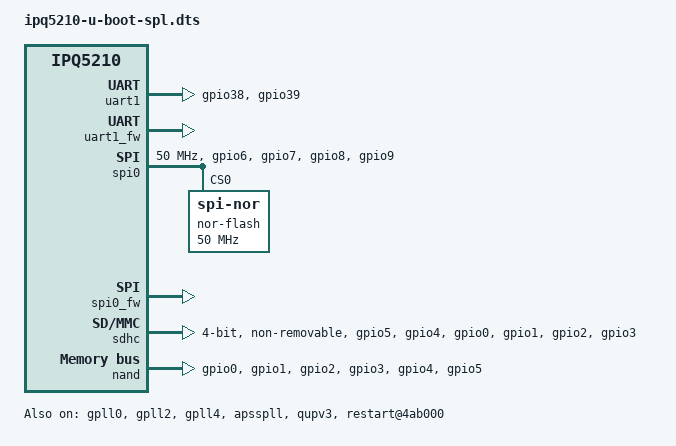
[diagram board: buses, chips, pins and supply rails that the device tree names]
// SPDX-License-Identifier: GPL-2.0-only
/*
 * Copyright (c) Qualcomm Technologies, Inc. and/or its subsidiaries.
 */

/dts-v1/;

#include <dt-bindings/interrupt-controller/arm-gic.h>
#include <asm/arch/dt-bindings/clock/qcom,ipq5210-gcc.h>
#include <asm/arch/dt-bindings/reset/qcom,ipq5210-gcc.h>
#include <dt-bindings/gpio/gpio.h>

/ {
	bootph-all;
	compatible = "qcom,ipq5210";

	#address-cells = <2>;
	#size-cells = <2>;
	interrupt-parent = <&intc>;

	aliases {
		serial0 = &uart1;
	};

	chosen {
		stdout-path = "serial0:115200n8";
	};

	reserved-memory {
		#address-cells = <2>;
		#size-cells = <2>;
		ranges;

		smem_mem: smem_region@87C00000 {
			bootph-all;
			reg = <0x0 0x87C00000 0x0 0x40000>;
			no-map;
		};
	};

	smem {
		bootph-all;
		compatible = "qcom,smem";
		memory-region = <&smem_mem>;
	};

	soc@0 {
		compatible = "simple-bus";
		#address-cells = <2>;
		#size-cells = <2>;
		ranges = <0 0 0 0 0x10 0>;

		tlmm: pinctrl@1000000 {
			bootph-all;
			compatible = "qcom,ipq5210-tlmm";
			reg = <0 0x01000000 0 0x300000>;
			gpio-controller;
			#gpio-cells = <2>;
			gpio-ranges = <&tlmm 0 0 53>;
			interrupt-controller;
			#interrupt-cells = <2>;

			uart1_pins: uart1-state {
				bootph-all;
				rx-pins {
					pins = "gpio38";
					function = "qup_se1_l3";
					drive-strength = <6>;
					bias-pull-down;
					bootph-all;
				};

				tx-pins {
					pins = "gpio39";
					function = "qup_se1_l2";
					drive-strength = <6>;
					bias-pull-down;
					bootph-all;
				};
			};

			sdc_default_state: sdc-default-state {
				bootph-all;
				clk-pins {
					bootph-all;
					pins = "gpio5";
					function = "sdc_clk";
					drive-strength = <8>;
					bias-disable;
				};

				cmd-pins {
					bootph-all;
					pins = "gpio4";
					function = "sdc_cmd";
					drive-strength = <8>;
					bias-pull-up;
				};

				data-pins {
					bootph-all;
					pins = "gpio0", "gpio1", "gpio2", "gpio3";
					function = "sdc_data";
					drive-strength = <8>;
					bias-pull-up;
				};
			};

			spi0_pinmux: spi0 {
				bootph-all;
				spi0_sclk {
					bootph-all;
					pins = "gpio6";
					function = "qup_se0_l2";
					drive-strength = <8>;
					bias-pull-down;
				};

				spi0_cs0 {
					bootph-all;
					pins = "gpio7";
					function = "qup_se0_l3";
					drive-strength = <8>;
					bias-pull-up;
				};

				spi0_miso {
					bootph-all;
					pins = "gpio8";
					function = "qup_se0_l0";
					drive-strength = <8>;
					bias-pull-down;
				};

				spi0_mosi {
					bootph-all;
					pins = "gpio9";
					function = "qup_se0_l1";
					drive-strength = <8>;
					bias-pull-down;
				};
			};

			qspi_pinmux: nand {
				bootph-all;
				qspi_data {
					bootph-all;
					pins = "gpio0", "gpio1", "gpio2","gpio3";
					function = "qspi_data";
					drive-strength = <8>;
					bias-pull-up;
				};

				qspi_cs_n {
					bootph-all;
					pins = "gpio4";
					function = "qspi_cs";
					drive-strength = <8>;
					bias-pull-up;
				};

				qspi_clk {
					bootph-all;
					pins = "gpio5";
					function = "qspi_clk";
					drive-strength = <8>;
					bias-disable;
				};
			};
		};

		intc: interrupt-controller@b000000 {
			bootph-all;
			compatible = "qcom,msm-qgic2";
			interrupt-controller;
			#interrupt-cells = <3>;
			reg = <0 0xb000000 0 0x1000>,  /*GICD*/
				<0 0xb002000 0 0x1000>,  /*GICC*/
				<0 0xb001000 0 0x1000>,  /*GICH*/
				<0 0xb004000 0 0x1000>;  /*GICV*/
			interrupts = <GIC_PPI 9 IRQ_TYPE_LEVEL_HIGH>;
		};

		tmel_qmp: tmel-qmp@32090000 {
			bootph-all;
			compatible = "qcom,tmel-qmp-mbox-secure";
			reg = <0x0 0x32090000 0x0 0x20>,
				<0x0 0x32091000 0x0 0x20>;
			reg-names = "mcore", "ucore";

			interrupts = <GIC_SPI 68 IRQ_TYPE_EDGE_RISING>;
			max_pkt_size = <0x18>;

			#mbox-cells = <0>;
			status = "okay";
		};

		tmelcom: qcom,tmelcom {
			bootph-all;
			compatible = "qcom,tmelcom";
			mboxes = <&tmel_qmp>;
			mbox-names = "tmel-qmp-mbox";
			#clock-cells = <1>;
			#power-domain-cells = <1>;
			#reset-cells = <1>;
			status = "okay";
		};

		gcc: clock-controller@1800000 {
			bootph-all;
			compatible = "qcom,ipq5210-gcc";
			reg = <0 0x01800000 0 0x40000>;
			#clock-cells = <1>;
			#reset-cells = <1>;
			#power-domain-cells = <1>;
		};

		gpll0: pll@1820000 {
			bootph-all;
			compatible = "qcom,ipq5210-clk-pll",
					"qcom,ipq-clk-pll";
			reg = <0 0x01820000 0 0x1000>;
			#clock-cells = <0>;
			clock-output-names = "gpll0";
			fsm-vote-addr = <0x0180B000>;
			fsm-vote-mask = <0x1>;
			status = "okay";
		};

		gpll2: pll@1821000 {
			bootph-all;
			compatible = "qcom,ipq5210-clk-pll",
					"qcom,ipq-clk-pll";
			reg = <0 0x01821000 0 0x1000>;
			#clock-cells = <0>;
			clock-output-names = "gpll2";
			fsm-vote-addr = <0x0180B000>;
			fsm-vote-mask = <0x2>;
			status = "okay";
		};

		gpll4: pll@1822000 {
			bootph-all;
			compatible = "qcom,ipq5210-clk-pll",
					"qcom,ipq-clk-pll";
			reg = <0 0x01822000 0 0x1000>;
			#clock-cells = <0>;
			clock-output-names = "gpll4";
			fsm-vote-addr = <0x0180B000>;
			fsm-vote-mask = <0x4>;
			status = "okay";
		};

		apsspll: pll@b116000 {
			bootph-all;
			compatible = "qcom,ipq5210-clk-pll",
					"qcom,ipq-clk-pll";
			reg = <0 0x0b116000 0 0x1000>;
			clock-output-names = "apsspll";
			status = "okay";
		};

		apss_cpu: apss-cpu-clock@b111000 {
			bootph-all;
			compatible = "qcom,ipq5210-apss";
			reg = <0 0x0b111000 0 0x1000>;
			#clock-cells = <1>;
		};

		pll_init: qcom,ipq-init-plls {
			bootph-all;
			compatible = "qcom,ipq-init-plls";
			plls = <&gpll0 &gpll2 &gpll4 &apsspll>;
			status = "okay";
		};

		board_init_clks: qcom,ipq-init-clks {
			bootph-all;
			compatible = "qcom,ipq-init-clks";

			clocks = <&gcc GCC_APCS_CLOCK_BRANCH_ENA_VOTE>,
				 <&gcc GCC_APSS_DBG_CLK>,
				 <&gcc GCC_APSS_TS_CLK>,
				 <&gcc GCC_SNOC_QOSGEN_EXTREF_CLK>,
				 <&gcc GCC_SYS_NOC_AT_CLK>,
				 <&gcc GCC_SNOC_XO_DCD_CLK>,
				 <&gcc GCC_SNOC_TS_CLK>,
				 <&gcc GCC_PCNOC_AT_CLK>,
				 <&gcc GCC_PCNOC_TS_CLK>,
				 <&gcc GCC_CNOC_QOSGEN_EXTREF_CLK>;

			assigned-clocks = <&apss_cpu APCS_ALIAS0_CLK>,
					  <&gcc GCC_PCNOC_BFDCD_CLK>,
					  <&gcc GCC_SYSTEM_NOC_BFDCD_CLK>,
					  <&gcc GCC_APSS_AXI_CLK>,
					  <&gcc GCC_APSS_AHB_CLK>,
					  <&gcc GCC_QDSS_TSCTR_CLK>,
					  <&gcc GCC_QDSS_AT_CLK>;
			assigned-clock-rates = <1600000000>,
					       <100000000>,
					       <266666666>,
					       <800000000>,
					       <100000000>,
					       <600000000>,
					       <240000000>;

			clock-names = "apcs_branch_vote",
					"pcnoc_bfdcd",
					"sysnoc_bfdcd";

			status = "okay";
		};

		qupv3: geniqup@1ac0000 {
			bootph-all;
			compatible = "qcom,geni-se-qup";
			reg = <0 0x01ac0000 0 0x2000>;
			ranges;
			clocks = <&gcc GCC_QUPV3_2X_CORE_CLK>,
				 <&gcc GCC_QUPV3_AHB_MST_CLK>,
				 <&gcc GCC_QUPV3_AHB_SLV_CLK>,
				 <&gcc GCC_QUPV3_CORE_CLK>,
				 <&gcc GCC_QUPV3_SLEEP_CLK>;
			clock-names = "2x-core", "m-ahb", "s-ahb",
					"core", "sleep";

			assigned-clocks = <&gcc GCC_QUPV3_2X_CORE_CLK>;
			assigned-clock-rates = <200000000>;
			#address-cells = <2>;
			#size-cells = <2>;

			status = "okay";

			uart1: serial@1a84000 {
				bootph-all;
				compatible = "qcom,geni-debug-uart";
				reg = <0 0x1a84000 0 0x4000>;
				clocks = <&gcc GCC_QUPV3_UART1_CLK>;
				clock-names = "se";
				pinctrl-0 = <&uart1_pins>;
				pinctrl-names = "default";
				qup-se-fw-load = <&uart1_fw>;
				status = "okay";
			};

			uart1_fw: uart_firmware@0 {
				bootph-all;
				compatible = "qcom,ipq5210-geni-uart-fw-v1",
					     "qcom,geni-uart-fw-v1";
				reg = <0 0x01a84000 0 0x4000>;
				status = "okay";
			};

			spi0: spi@1a80000 {
				bootph-all;
				compatible = "qcom-ipq5210-geni-spi";
				reg = <0 0x1a80000 0 0x4000>;
				reg-names = "se_phys";
				clocks = <&gcc GCC_QUPV3_SPI0_CLK>;
				clock-names = "se-spi-clk";
				clock-frequency = <50000000>;
				nor-blk-enable;
				status = "okay";
				#address-cells = <1>;
				#size-cells = <0>;
				qup-se-fw-load = <&spi0_fw>;

				pinctrl-0 = <&spi0_pinmux>;
				pinctrl-names = "default";

				nor-flash@0 {
					bootph-all;
					compatible = "jedec,spi-nor";
					reg = <0 0 0 0>;
					spi-max-frequency = <50000000>;
				};
			};

			spi0_fw: spi_firmware@0 {
				bootph-all;
				compatible = "qcom,ipq5210-geni-spi-fw-v1",
					     "qcom,geni-spi-fw-v1";
				reg = <0 0x1a80000 0 0x4000>;
				reg-names = "se_phys";
			};
		};

		sdhc: mmc@7804000 {
			bootph-all;
			compatible = "qcom,ipq5210-sdhci", "qcom,sdhci-msm-v5";
			reg = <0 0x07804000 0 0x1000>, <0 0x07805000 0 0x1000>;
			reg-names = "hc", "cqhci";

			clocks = <&gcc GCC_SDCC1_AHB_CLK>,
				 <&gcc GCC_SDCC1_APPS_CLK>;
			clock-names = "iface", "core";

			bus-width = <4>;
			max-frequency = <192000000>;
			mmc-ddr-1_8v;
			non-removable;
			pinctrl-0 = <&sdc_default_state>;
			pinctrl-names = "default";
			sdhci-caps-mask = <0x0 0x04000000>;
			sdhci-caps = <0x0 0x04000000>;
			resets = <&gcc GCC_SDCC_BCR>;
			reset-names = "bcr_rst";
			status = "okay";
		};

		nand: nand-controller@79b0000 {
			bootph-all;
			compatible = "qti,spi-nand-v2.1.3";
			#address-cells = <2>;
			#size-cells = <2>;
			reg = <0x0 0x79B0000 0x0 0x10000>;
			assigned-clocks = <&gcc GCC_QPIC_CLK>,
					 <&gcc GCC_QPIC_IO_MACRO_CLK>;
			assigned-clock-rates = <100000000>, <200000000>;
			max_clk_feaquency = <400000000>;
			clock-names = "qpic-clk",
				      "qpic-io-macro-clk",
				      "qpic-ahb-clk";
			clocks = <&gcc GCC_QPIC_CLK>,
				<&gcc GCC_QPIC_IO_MACRO_CLK>,
				<&gcc GCC_QPIC_AHB_CLK>;
			resets = <&gcc GCC_QPIC_BCR>;
			reset-names = "bcr_rst";

			bam_reg = <0x07984000>;
			status_pipe = <3>;
			status_pipe_grp = <0>;
			read_pipe = <1>;
			read_pipe_grp = <0>;
			write_pipe = <0>;
			write_pipe_grp = <0>;
			cmd_pipe = <2>;
			cmd_pipe_grp = <1>;
			pinctrl-0 = <&qspi_pinmux>;
			pinctrl-names = "default";
			status = "okay";
		};

		restart@4ab000 {
			bootph-all;
			compatible = "qcom,pshold";
			reg = <0x0 0x4AB000 0x0 0x4>;
			status = "okay";
		};
	};
};
